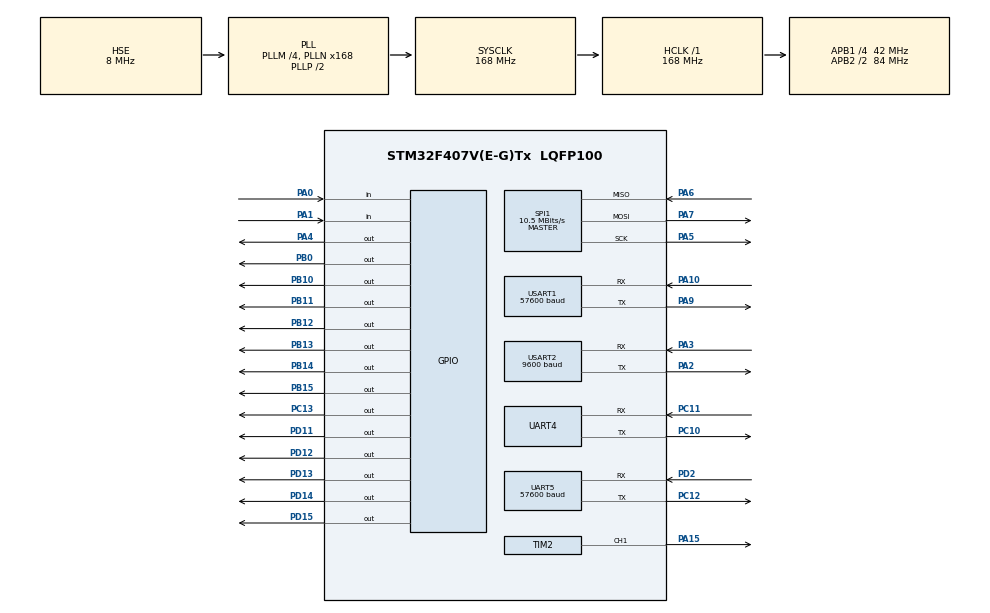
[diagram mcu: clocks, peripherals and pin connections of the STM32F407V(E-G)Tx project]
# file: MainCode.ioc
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Mcu.Family=STM32F4
Mcu.Name=STM32F407V(E-G)Tx
Mcu.Package=LQFP100
NVIC.PriorityGroup=NVIC_PRIORITYGROUP_4
PA0-WKUP.Signal=GPIO_Input
PA1.Signal=GPIO_Input
PA10.Mode=Asynchronous
PA10.Signal=USART1_RX
PA13.Mode=Serial_Wire
PA13.Signal=SYS_JTMS-SWDIO
PA14.Mode=Serial_Wire
PA14.Signal=SYS_JTCK-SWCLK
PA15.Signal=S_TIM2_CH1_ETR
PA2.Mode=Asynchronous
PA2.Signal=USART2_TX
PA3.Mode=Asynchronous
PA3.Signal=USART2_RX
PA4.Signal=GPIO_Output
PA5.Mode=Full_Duplex_Master
PA5.Signal=SPI1_SCK
PA6.Mode=Full_Duplex_Master
PA6.Signal=SPI1_MISO
PA7.Mode=Full_Duplex_Master
PA7.Signal=SPI1_MOSI
PA9.Mode=Asynchronous
PA9.Signal=USART1_TX
PB0.Signal=GPIO_Output
PB10.Signal=GPIO_Output
PB11.Signal=GPIO_Output
PB12.Signal=GPIO_Output
PB13.Signal=GPIO_Output
PB14.Signal=GPIO_Output
PB15.Signal=GPIO_Output
PC10.Mode=Asynchronous
PC10.Signal=UART4_TX
PC11.Mode=Asynchronous
PC11.Signal=UART4_RX
PC12.Mode=Asynchronous
PC12.Signal=UART5_TX
PC13-ANTI_TAMP.Signal=GPIO_Output
PD11.Signal=GPIO_Output
PD12.Signal=GPIO_Output
PD13.Signal=GPIO_Output
PD14.Signal=GPIO_Output
PD15.Signal=GPIO_Output
PD2.Mode=Asynchronous
PD2.Signal=UART5_RX
PH0-OSC_IN.Mode=HSE-External-Oscillator
PH0-OSC_IN.Signal=RCC_OSC_IN
PH1-OSC_OUT.Mode=HSE-External-Oscillator
PH1-OSC_OUT.Signal=RCC_OSC_OUT
ProjectManager.HeapSize=0x200
ProjectManager.StackSize=0x400
ProjectManager.TargetToolchain=STM32CubeIDE
RCC.48MHZClocksFreq_Value=84000000
RCC.AHBFreq_Value=168000000
RCC.APB1CLKDivider=RCC_HCLK_DIV4
RCC.APB1Freq_Value=42000000
RCC.APB1TimFreq_Value=84000000
RCC.APB2CLKDivider=RCC_HCLK_DIV2
RCC.APB2Freq_Value=84000000
RCC.APB2TimFreq_Value=168000000
RCC.CortexFreq_Value=168000000
RCC.HCLKFreq_Value=168000000
RCC.HSE_VALUE=8000000
RCC.HSI_VALUE=16000000
RCC.LSE_VALUE=32768
RCC.PLLM=4
RCC.PLLN=168
RCC.PLLSourceVirtual=RCC_PLLSOURCE_HSE
RCC.SYSCLKFreq_VALUE=168000000
RCC.SYSCLKSource=RCC_SYSCLKSOURCE_PLLCLK
RCC.VCOOutputFreq_Value=336000000
SH.S_TIM2_CH1_ETR.0=TIM2_CH1,PWM Generation1 CH1
SPI1.BaudRatePrescaler=SPI_BAUDRATEPRESCALER_8
SPI1.CalculateBaudRate=10.5 MBits/s
SPI1.Direction=SPI_DIRECTION_2LINES
SPI1.Mode=SPI_MODE_MASTER
SPI1.VirtualType=VM_MASTER
TIM2.Channel-PWM\ Generation1\ CH1=TIM_CHANNEL_1
TIM2.Period=1000-1
TIM2.Prescaler=900 - 1
UART4.VirtualMode=Asynchronous
UART5.BaudRate=57600
UART5.VirtualMode=Asynchronous
USART1.BaudRate=57600
USART1.VirtualMode=VM_ASYNC
USART2.BaudRate=9600
USART2.VirtualMode=VM_ASYNC
VP_TIM2_VS_ClockSourceINT.Mode=Internal
board=custom

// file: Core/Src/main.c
/* USER CODE BEGIN Header */
/**
  ******************************************************************************
  * @file           : main.c
  * @brief          : Main program body
  ******************************************************************************
  * @attention
  *
  * Copyright (c) 2023 STMicroelectronics.
  * All rights reserved.
  *
  * This software is licensed under terms that can be found in the LICENSE file
  * in the root directory of this software component.
  * If no LICENSE file comes with this software, it is provided AS-IS.
  *
  ******************************************************************************
  */
/* USER CODE END Header */
#include "main.h"

/* USER CODE BEGIN Includes */
#include <stdio.h>
#include <string.h>
#include "lcd.h"
#include "rc522.h"
/* USER CODE END Includes */

/* USER CODE BEGIN PD */
 #define FP_OK 0x00
 #define FP_ERROR 0xFE
 #define FP_NOFINGER 0x02
 #define FP_FINGER_NOTMATCH 0x0A
 #define FP_FINGER_NOTMATCH 0x0A
 #define FP_FINGER_NOTFOUND 0x09
/* USER CODE END PD */

SPI_HandleTypeDef hspi1;

TIM_HandleTypeDef htim2;

UART_HandleTypeDef huart4;
UART_HandleTypeDef huart5;
UART_HandleTypeDef huart1;
UART_HandleTypeDef huart2;

/* USER CODE BEGIN PV */
uint8_t FPHeader[6]={0xEF,0x01,0xFF,0xFF,0xFF,0xFF};
uint8_t FPGetImage[6]={0x01,0x00,0x03,0x01,0x00,0x05};
uint8_t FPCreateCharFile1[7]={0x01,0x00,0x04,0x02,0x01,0x00,0x08};
uint8_t FPCreateCharFile2[7]={0x01,0x00,0x04,0x02,0x02,0x00,0x09};
uint8_t FPCreateTemplate[6]={0x01,0x00,0x03,0x05,0x00,0x09};
uint8_t FPDeleteAllFinger[6]={0x01,0x00,0x03,0x0D,0x00,0x11};
uint8_t FPSearchFinger[11]={0x01,0x00,0x08,0x04,0x01,0x00,0x00,0x00,0x40,0x00,0x4E};
uint8_t FPGetNumberOfFinger[6]={0x01,0x00,0x03,0x1D,0x00,0x21};

uint8_t IDFromFinger;
uint8_t CurrentNumberFinger;

uint8_t status;
uint8_t str[MAX_LEN];
uint8_t sNum[5];
/* USER CODE END PV */

void SystemClock_Config(void);
static void MX_GPIO_Init(void);
static void MX_USART1_UART_Init(void);
static void MX_USART2_UART_Init(void);
static void MX_UART5_Init(void);
static void MX_TIM2_Init(void);
static void MX_SPI1_Init(void);
static void MX_UART4_Init(void);

/* USER CODE BEGIN 0 */

void SendFPHeader()
{
	HAL_UART_Transmit(&huart5,FPHeader,6,1000);
}

void SendFPGetImage()
{
	 HAL_UART_Transmit(&huart5,FPGetImage,6,1000);
}

void SendFPCreateCharFile1()
{
	HAL_UART_Transmit(&huart5,FPCreateCharFile1,7,1000);
}

void SendFPCreateCharFile2()
{
	HAL_UART_Transmit(&huart5,FPCreateCharFile2,7,1000);
}

void SendFPCreateTemplate()
{
	HAL_UART_Transmit(&huart5,FPCreateTemplate,6,1000);
}

void SendFPDeleteAllFinger()
{
	HAL_UART_Transmit(&huart5,FPDeleteAllFinger,6,1000);
}

void SendFPDSearchFinger()
{
	HAL_UART_Transmit(&huart5,FPSearchFinger,11,1000);
}

void SendFGetNumberOfFinger()
{
	HAL_UART_Transmit(&huart5,FPGetNumberOfFinger,6,1000);
}

void SendStoreFinger(uint16_t IDStore)
{
	uint16_t Sum=0;
	uint8_t DataSend[9]={0};

	DataSend[0]=0x01;
	Sum=Sum+DataSend[0];
	DataSend[1]=0x00;
	Sum=Sum+DataSend[1];
	DataSend[2]=0x06;
	Sum=Sum+DataSend[2];
	DataSend[3]=0x06;
	Sum=Sum+DataSend[3];
	DataSend[4]=0x01;
	Sum=Sum+DataSend[4];
	DataSend[5]= (uint8_t)(IDStore>> 8);
	Sum=Sum+DataSend[5];
	DataSend[6]=(uint8_t) (IDStore&0xFF);
	Sum=Sum+DataSend[6];
  DataSend[7]=(uint8_t)(Sum>> 8);
	DataSend[8]=(uint8_t)(Sum&0xFF);
	HAL_UART_Transmit(&huart5,DataSend,9,1000);
}

void SendDeleteFinger(uint16_t IDDelete)
{
	uint16_t Sum=0;
	uint8_t DataSend[10]={0};

	DataSend[0]=0x01;
	Sum=Sum+DataSend[0];
	DataSend[1]=0x00;
	Sum=Sum+DataSend[1];
	DataSend[2]=0x07;
	Sum=Sum+DataSend[2];
	DataSend[3]=0x0C;
	Sum=Sum+DataSend[3];
	DataSend[4]=(uint8_t)(IDDelete>> 8);
	Sum=Sum+DataSend[4];
	DataSend[5]= (uint8_t) (IDDelete&0xFF);
	Sum=Sum+DataSend[5];
	DataSend[6]=0x00;
	Sum=Sum+DataSend[6];
	DataSend[7]=0x001;
	Sum=Sum+DataSend[7];
  DataSend[8]=(uint8_t)(Sum>> 8);
	DataSend[9]=(uint8_t)(Sum&0xFF);
	HAL_UART_Transmit(&huart5,DataSend,10,1000);
}

uint8_t CheckFPRespsone(uint8_t MaxRead)
{
	uint8_t ByteCount=0;
	uint8_t FPRXData[20]={0xFF};
	uint8_t UARTData[1]={0};
	uint32_t TimeOut = HAL_GetTick();
	uint8_t Result;
	IDFromFinger=0xFF;
	while((HAL_GetTick() - TimeOut < 1000) && ByteCount<MaxRead) // time out is 1000 ms
	{
	    if(HAL_UART_Receive(&huart5, (uint8_t *)UARTData, 1, 1000) == HAL_OK)
			{
				FPRXData[ByteCount] = UARTData[0];
				ByteCount++;
			}
	}

	if(ByteCount==0)
	{
		//FPRXData[0]=0xEE;
		//FPRXData[1]=0xEE;
		//HAL_UART_Transmit(&huart2,FPRXData,2,1000);
		Result=FP_ERROR;
		return Result;
	}
	else if(ByteCount<MaxRead)
	{
		Result=FP_ERROR;
		return Result;
	}
	  else // vail data return
	{

		 Result=FPRXData[9];
		 IDFromFinger=FPRXData[11];
	   //HAL_UART_Transmit(&huart2,FPRXData,MaxRead,1000);
		 return Result;

	}
}

uint8_t GetNumberOfFinger()
{
	uint8_t Result;
	SendFPHeader();
	SendFGetNumberOfFinger();
	Result=CheckFPRespsone(14);
	if(Result!=FP_OK) return 0xFF;

	return IDFromFinger;
}

uint8_t RegistryNewFinger(uint16_t LocationID)
{

	uint8_t Result=FP_NOFINGER;
	uint32_t TimeOut = HAL_GetTick();

	LCD_SetPos(0,1);
	LCD_String("HAY DAT NGON TAY");

	while(Result==FP_NOFINGER&&(HAL_GetTick() - TimeOut < 5000)) // time out is 5000 ms
	{

		SendFPHeader();
		SendFPGetImage();
		Result=CheckFPRespsone(12);
	}
	if(Result!=FP_OK) return FP_ERROR;
	// continue if detect finger;
	SendFPHeader();
	SendFPCreateCharFile1();
	Result=CheckFPRespsone(12);
	if(Result!=FP_OK) return FP_ERROR;

	LCD_SetPos(0,1);
	LCD_String(" HAY BO TAY RA  ");

	HAL_Delay(2000);
	Result=FP_NOFINGER;
	TimeOut = HAL_GetTick();
	LCD_SetPos(0,1);
	LCD_String("DAT LAI NGON TAY");

	while(Result==FP_NOFINGER&&(HAL_GetTick() - TimeOut < 5000)) // time out is 5000 ms
	{

		SendFPHeader();
		SendFPGetImage();
		Result=CheckFPRespsone(12);
	}
	if(Result!=FP_OK) return FP_ERROR;

	// continue if detect finger;
	SendFPHeader();
	SendFPCreateCharFile2();
	Result=CheckFPRespsone(12);
	if(Result!=FP_OK) return FP_ERROR;

	// Compare finger, create template
	SendFPHeader();
	SendFPCreateTemplate();
	Result=CheckFPRespsone(12);
	if(Result==FP_FINGER_NOTMATCH)
	{

		return FP_FINGER_NOTMATCH;
	}
	else if(Result!=FP_OK) return FP_ERROR;

	// save finger
	SendFPHeader();
	SendStoreFinger(LocationID);
	Result=CheckFPRespsone(12);
	if(Result!=FP_OK) return FP_ERROR;
	else
	{
		return FP_OK;
	}

}

uint8_t CheckFinger()
{
	uint8_t Result=FP_NOFINGER;
	uint32_t TimeOut = HAL_GetTick();

	while(Result==FP_NOFINGER&&(HAL_GetTick() - TimeOut < 5000)&&HAL_GPIO_ReadPin(GPIOA,GPIO_PIN_0)==0) // time out is 5000 ms and no button press
	{

		SendFPHeader();
		SendFPGetImage();
		Result=CheckFPRespsone(12);
	}
	if(Result==FP_NOFINGER)
	{

		return FP_NOFINGER;
	}
	if(Result!=FP_OK) return FP_ERROR;
	// continue if detect finger;
	SendFPHeader();
	SendFPCreateCharFile1();
	Result=CheckFPRespsone(12);
	if(Result!=FP_OK) return FP_ERROR;

	// Search Finger
	SendFPHeader();
	SendFPDSearchFinger();
	Result=CheckFPRespsone(16);
	return Result;

}

uint8_t ProcessRegistryNewFinger()
{
  uint8_t FingerResult;
  LCD_SetPos(0,1);
  LCD_String("DANG KY VAN TAY ");

  HAL_Delay(1000);
  FingerResult=RegistryNewFinger(CurrentNumberFinger+1);
	if(FingerResult==FP_OK)
	{
		LCD_SetPos(0,1);
		LCD_String("DANG KY T.CONG  ");
		HAL_Delay(1000);
		LCD_SetPos(0,1);
		LCD_String("                ");
		CurrentNumberFinger++;
		if(CurrentNumberFinger==100) CurrentNumberFinger=1;
		HAL_Delay(1500);
	}
	else if(FingerResult==FP_FINGER_NOTMATCH)
	{
		LCD_SetPos(0,1);
		LCD_String("2 VT KHONG KHOP ");
		HAL_Delay(1000);
		LCD_SetPos(0,1);
		LCD_String("                ");
	}
	else
	{
		LCD_SetPos(0,1);
		LCD_String(" CO LOI XAY RA  ");
		HAL_Delay(1000);
		LCD_SetPos(0,1);
		LCD_String("                ");

	}
	return FingerResult;

}

void DeleteAllFinger()
{

	uint8_t FingerResult;
	SendFPHeader();
	SendFPDeleteAllFinger();
	FingerResult=CheckFPRespsone(12);
	if(FingerResult==FP_OK)
	{
		LCD_SetPos(0,1);
		LCD_String(" DA XOA VAN TAY ");
		HAL_Delay(1500);
		LCD_SetPos(0,1);
		LCD_String("                ");
		CurrentNumberFinger=0;
	}
	else
	{
		LCD_SetPos(0,1);
		LCD_String(" CO LOI XAY RA  ");
		HAL_Delay(1500);
		LCD_SetPos(0,1);
		LCD_String("                ");
	}

}

void Delay_us(uint32_t TimeDelay)
{
	uint32_t TimeCount;
	for(TimeCount=0;TimeCount<TimeDelay;TimeCount++)
	{
		__ASM volatile ("NOP");
		__ASM volatile ("NOP");
		__ASM volatile ("NOP");
	}
}

void SetServoAngle(uint8_t angle)
{
	if (angle > 180) angle = 180;
	uint32_t pulse_length = ((angle * (2000 - 1000)) / 180) + 1000;
	__HAL_TIM_SET_COMPARE(&htim2, TIM_CHANNEL_1, pulse_length);
}

void CloseDoor()
{
////	  HAL_GPIO_WritePin(GPIOD,GPIO_PIN_11,GPIO_PIN_SET);
////	  Delay_us(1000);
////	  HAL_GPIO_WritePin(GPIOD,GPIO_PIN_11,GPIO_PIN_RESET);
//	SetServoAngle(0); // Close door (0 degrees)
	__HAL_TIM_SET_COMPARE(&htim2, TIM_CHANNEL_1, 50);
}

void OpenDoor()
{
////	  HAL_GPIO_WritePin(GPIOD,GPIO_PIN_11,GPIO_PIN_SET);
////	  Delay_us(2100);
////	  HAL_GPIO_WritePin(GPIOD,GPIO_PIN_11,GPIO_PIN_RESET);
//	SetServoAngle(90); // Open door (90 degrees)
//	Delay_us(2100);
	__HAL_TIM_SET_COMPARE(&htim2, TIM_CHANNEL_1, 150);
}

/* USER CODE END 0 */

int main(void)
{

  /* USER CODE BEGIN 1 */
  uint8_t FingerResult;
  uint32_t TimeCount;
  /* USER CODE END 1 */

  /* MCU Configuration--------------------------------------------------------*/

  /* Reset of all peripherals, Initializes the Flash interface and the Systick. */
  HAL_Init();

  /* Configure the system clock */
  SystemClock_Config();

  /* Initialize all configured peripherals */
  MX_GPIO_Init();
  MX_USART1_UART_Init();
  MX_USART2_UART_Init();
  MX_UART5_Init();
  MX_TIM2_Init();
  MX_SPI1_Init();
  MX_UART4_Init();
  /* USER CODE BEGIN 2 */
  MFRC522_Init();
  LCD_Init();
  LCD_SetPos(0,0);
  LCD_String(" HT VAN TAY/RFID");

  HAL_TIM_PWM_Start(&htim2, TIM_CHANNEL_1);
  __HAL_TIM_SET_COMPARE(&htim2, TIM_CHANNEL_1, 50);

  HAL_Delay(1000);

  OpenDoor(); // need to active motor
  HAL_Delay(500);
  CloseDoor();
  HAL_Delay(500);
  OpenDoor();
  HAL_Delay(500);
  CloseDoor();
  CurrentNumberFinger=GetNumberOfFinger();
  if(CurrentNumberFinger>100)
  {
	CurrentNumberFinger=1;
  }

	 LCD_SetPos(0,1);
	 LCD_String("    SAN SANG    ");
  /* USER CODE END 2 */

  /* Infinite loop */
  /* USER CODE BEGIN WHILE */
  while (1)
  {
	status = MFRC522_Request(PICC_REQIDL, str);
	status = MFRC522_Anticoll(str);
	memcpy(sNum, str, 5);
	HAL_Delay(100);
	FingerResult=CheckFinger();
    if(FingerResult==FP_OK || ((str[0]==163) && (str[1]==99) && (str[2]==212) && (str[3]==26) && (str[4]==14)) || ((str[0]==68) && (str[1]==244) && (str[2]==128) && (str[3]==113) && (str[4]==65)))
	{
    	HAL_UART_Transmit(&huart4, (uint8_t*)"1", 1, 1000);
		OpenDoor();

		LCD_SetPos(0,1);
		LCD_String("   DANG MO CUA ");

		HAL_Delay(2000);
		CloseDoor();

		LCD_SetPos(0,1);
		LCD_String("               ");
	}
	else if(FingerResult==FP_FINGER_NOTFOUND)
	{
		LCD_SetPos(0,1);
		LCD_String("VT KHONG HOP LE");
		HAL_Delay(1000);
		LCD_SetPos(0,1);
		LCD_String("               ");
	}

	if(HAL_GPIO_ReadPin(GPIOA,GPIO_PIN_0)==1)
	{
		TimeCount = HAL_GetTick();
		while(HAL_GetTick()-TimeCount<3000&&HAL_GPIO_ReadPin(GPIOA,GPIO_PIN_0)==1) // check hold button in 3 second to erase
		{}
		if(HAL_GPIO_ReadPin(GPIOA,GPIO_PIN_0)==1) // still hold button
		{
			DeleteAllFinger();
		}
		else
		{
			FingerResult=ProcessRegistryNewFinger();
		}

	}
    /* USER CODE END WHILE */

  }
}

void SystemClock_Config(void)
{
  RCC_OscInitTypeDef RCC_OscInitStruct = {0};
  RCC_ClkInitTypeDef RCC_ClkInitStruct = {0};

  /** Configure the main internal regulator output voltage
  */
  __HAL_RCC_PWR_CLK_ENABLE();
  __HAL_PWR_VOLTAGESCALING_CONFIG(PWR_REGULATOR_VOLTAGE_SCALE1);

  /** Initializes the RCC Oscillators according to the specified parameters
  * in the RCC_OscInitTypeDef structure.
  */
  RCC_OscInitStruct.OscillatorType = RCC_OSCILLATORTYPE_HSE;
  RCC_OscInitStruct.HSEState = RCC_HSE_ON;
  RCC_OscInitStruct.PLL.PLLState = RCC_PLL_ON;
  RCC_OscInitStruct.PLL.PLLSource = RCC_PLLSOURCE_HSE;
  RCC_OscInitStruct.PLL.PLLM = 4;
  RCC_OscInitStruct.PLL.PLLN = 168;
  RCC_OscInitStruct.PLL.PLLP = RCC_PLLP_DIV2;
  RCC_OscInitStruct.PLL.PLLQ = 4;
  if (HAL_RCC_OscConfig(&RCC_OscInitStruct) != HAL_OK)
  {
    Error_Handler();
  }

  /** Initializes the CPU, AHB and APB buses clocks
  */
  RCC_ClkInitStruct.ClockType = RCC_CLOCKTYPE_HCLK|RCC_CLOCKTYPE_SYSCLK
                              |RCC_CLOCKTYPE_PCLK1|RCC_CLOCKTYPE_PCLK2;
  RCC_ClkInitStruct.SYSCLKSource = RCC_SYSCLKSOURCE_PLLCLK;
  RCC_ClkInitStruct.AHBCLKDivider = RCC_SYSCLK_DIV1;
  RCC_ClkInitStruct.APB1CLKDivider = RCC_HCLK_DIV4;
  RCC_ClkInitStruct.APB2CLKDivider = RCC_HCLK_DIV2;

  if (HAL_RCC_ClockConfig(&RCC_ClkInitStruct, FLASH_LATENCY_5) != HAL_OK)
  {
    Error_Handler();
  }
}

static void MX_SPI1_Init(void)
{

  /* SPI1 parameter configuration*/
  hspi1.Instance = SPI1;
  hspi1.Init.Mode = SPI_MODE_MASTER;
  hspi1.Init.Direction = SPI_DIRECTION_2LINES;
  hspi1.Init.DataSize = SPI_DATASIZE_8BIT;
  hspi1.Init.CLKPolarity = SPI_POLARITY_LOW;
  hspi1.Init.CLKPhase = SPI_PHASE_1EDGE;
  hspi1.Init.NSS = SPI_NSS_SOFT;
  hspi1.Init.BaudRatePrescaler = SPI_BAUDRATEPRESCALER_8;
  hspi1.Init.FirstBit = SPI_FIRSTBIT_MSB;
  hspi1.Init.TIMode = SPI_TIMODE_DISABLE;
  hspi1.Init.CRCCalculation = SPI_CRCCALCULATION_DISABLE;
  hspi1.Init.CRCPolynomial = 10;
  if (HAL_SPI_Init(&hspi1) != HAL_OK)
  {
    Error_Handler();
  }

}

static void MX_TIM2_Init(void)
{

  TIM_ClockConfigTypeDef sClockSourceConfig = {0};
  TIM_MasterConfigTypeDef sMasterConfig = {0};
  TIM_OC_InitTypeDef sConfigOC = {0};

  htim2.Instance = TIM2;
  htim2.Init.Prescaler = 900 - 1;
  htim2.Init.CounterMode = TIM_COUNTERMODE_UP;
  htim2.Init.Period = 1000-1;
  htim2.Init.ClockDivision = TIM_CLOCKDIVISION_DIV1;
  htim2.Init.AutoReloadPreload = TIM_AUTORELOAD_PRELOAD_DISABLE;
  if (HAL_TIM_Base_Init(&htim2) != HAL_OK)
  {
    Error_Handler();
  }
  sClockSourceConfig.ClockSource = TIM_CLOCKSOURCE_INTERNAL;
  if (HAL_TIM_ConfigClockSource(&htim2, &sClockSourceConfig) != HAL_OK)
  {
    Error_Handler();
  }
  if (HAL_TIM_PWM_Init(&htim2) != HAL_OK)
  {
    Error_Handler();
  }
  sMasterConfig.MasterOutputTrigger = TIM_TRGO_RESET;
  sMasterConfig.MasterSlaveMode = TIM_MASTERSLAVEMODE_DISABLE;
  if (HAL_TIMEx_MasterConfigSynchronization(&htim2, &sMasterConfig) != HAL_OK)
  {
    Error_Handler();
  }
  sConfigOC.OCMode = TIM_OCMODE_PWM1;
  sConfigOC.Pulse = 0;
  sConfigOC.OCPolarity = TIM_OCPOLARITY_HIGH;
  sConfigOC.OCFastMode = TIM_OCFAST_DISABLE;
  if (HAL_TIM_PWM_ConfigChannel(&htim2, &sConfigOC, TIM_CHANNEL_1) != HAL_OK)
  {
    Error_Handler();
  }
  HAL_TIM_MspPostInit(&htim2);

}

static void MX_UART4_Init(void)
{

  huart4.Instance = UART4;
  huart4.Init.BaudRate = 115200;
  huart4.Init.WordLength = UART_WORDLENGTH_8B;
  huart4.Init.StopBits = UART_STOPBITS_1;
  huart4.Init.Parity = UART_PARITY_NONE;
  huart4.Init.Mode = UART_MODE_TX_RX;
  huart4.Init.HwFlowCtl = UART_HWCONTROL_NONE;
  huart4.Init.OverSampling = UART_OVERSAMPLING_16;
  if (HAL_UART_Init(&huart4) != HAL_OK)
  {
    Error_Handler();
  }

}

static void MX_UART5_Init(void)
{

  huart5.Instance = UART5;
  huart5.Init.BaudRate = 57600;
  huart5.Init.WordLength = UART_WORDLENGTH_8B;
  huart5.Init.StopBits = UART_STOPBITS_1;
  huart5.Init.Parity = UART_PARITY_NONE;
  huart5.Init.Mode = UART_MODE_TX_RX;
  huart5.Init.HwFlowCtl = UART_HWCONTROL_NONE;
  huart5.Init.OverSampling = UART_OVERSAMPLING_16;
  if (HAL_UART_Init(&huart5) != HAL_OK)
  {
    Error_Handler();
  }

}

static void MX_USART1_UART_Init(void)
{

  huart1.Instance = USART1;
  huart1.Init.BaudRate = 57600;
  huart1.Init.WordLength = UART_WORDLENGTH_8B;
  huart1.Init.StopBits = UART_STOPBITS_1;
  huart1.Init.Parity = UART_PARITY_NONE;
  huart1.Init.Mode = UART_MODE_TX_RX;
  huart1.Init.HwFlowCtl = UART_HWCONTROL_NONE;
  huart1.Init.OverSampling = UART_OVERSAMPLING_16;
  if (HAL_UART_Init(&huart1) != HAL_OK)
  {
    Error_Handler();
  }

}

static void MX_USART2_UART_Init(void)
{

  huart2.Instance = USART2;
  huart2.Init.BaudRate = 9600;
  huart2.Init.WordLength = UART_WORDLENGTH_8B;
  huart2.Init.StopBits = UART_STOPBITS_1;
  huart2.Init.Parity = UART_PARITY_NONE;
  huart2.Init.Mode = UART_MODE_TX_RX;
  huart2.Init.HwFlowCtl = UART_HWCONTROL_NONE;
  huart2.Init.OverSampling = UART_OVERSAMPLING_16;
  if (HAL_UART_Init(&huart2) != HAL_OK)
  {
    Error_Handler();
  }

}

static void MX_GPIO_Init(void)
{
  GPIO_InitTypeDef GPIO_InitStruct = {0};

  /* GPIO Ports Clock Enable */
  __HAL_RCC_GPIOC_CLK_ENABLE();
  __HAL_RCC_GPIOH_CLK_ENABLE();
  __HAL_RCC_GPIOA_CLK_ENABLE();
  __HAL_RCC_GPIOB_CLK_ENABLE();
  __HAL_RCC_GPIOD_CLK_ENABLE();

  /*Configure GPIO pin Output Level */
  HAL_GPIO_WritePin(GPIOC, GPIO_PIN_13, GPIO_PIN_RESET);

  /*Configure GPIO pin Output Level */
  HAL_GPIO_WritePin(GPIOA, GPIO_PIN_4, GPIO_PIN_RESET);

  /*Configure GPIO pin Output Level */
  HAL_GPIO_WritePin(GPIOB, GPIO_PIN_0|GPIO_PIN_10|GPIO_PIN_11|GPIO_PIN_12
                          |GPIO_PIN_13|GPIO_PIN_14|GPIO_PIN_15, GPIO_PIN_RESET);

  /*Configure GPIO pin Output Level */
  HAL_GPIO_WritePin(GPIOD, GPIO_PIN_11|GPIO_PIN_12|GPIO_PIN_13|GPIO_PIN_14
                          |GPIO_PIN_15, GPIO_PIN_RESET);

  /*Configure GPIO pin : PC13 */
  GPIO_InitStruct.Pin = GPIO_PIN_13;
  GPIO_InitStruct.Mode = GPIO_MODE_OUTPUT_PP;
  GPIO_InitStruct.Pull = GPIO_NOPULL;
  GPIO_InitStruct.Speed = GPIO_SPEED_FREQ_LOW;
  HAL_GPIO_Init(GPIOC, &GPIO_InitStruct);

  /*Configure GPIO pins : PA0 PA1 */
  GPIO_InitStruct.Pin = GPIO_PIN_0|GPIO_PIN_1;
  GPIO_InitStruct.Mode = GPIO_MODE_INPUT;
  GPIO_InitStruct.Pull = GPIO_NOPULL;
  HAL_GPIO_Init(GPIOA, &GPIO_InitStruct);

  /*Configure GPIO pin : PA4 */
  GPIO_InitStruct.Pin = GPIO_PIN_4;
  GPIO_InitStruct.Mode = GPIO_MODE_OUTPUT_PP;
  GPIO_InitStruct.Pull = GPIO_NOPULL;
  GPIO_InitStruct.Speed = GPIO_SPEED_FREQ_LOW;
  HAL_GPIO_Init(GPIOA, &GPIO_InitStruct);

  /*Configure GPIO pins : PB0 PB10 PB11 PB12
                           PB13 PB14 PB15 */
  GPIO_InitStruct.Pin = GPIO_PIN_0|GPIO_PIN_10|GPIO_PIN_11|GPIO_PIN_12
                          |GPIO_PIN_13|GPIO_PIN_14|GPIO_PIN_15;
  GPIO_InitStruct.Mode = GPIO_MODE_OUTPUT_PP;
  GPIO_InitStruct.Pull = GPIO_NOPULL;
  GPIO_InitStruct.Speed = GPIO_SPEED_FREQ_LOW;
  HAL_GPIO_Init(GPIOB, &GPIO_InitStruct);

  /*Configure GPIO pins : PD11 PD12 PD13 PD14
                           PD15 */
  GPIO_InitStruct.Pin = GPIO_PIN_11|GPIO_PIN_12|GPIO_PIN_13|GPIO_PIN_14
                          |GPIO_PIN_15;
  GPIO_InitStruct.Mode = GPIO_MODE_OUTPUT_PP;
  GPIO_InitStruct.Pull = GPIO_NOPULL;
  GPIO_InitStruct.Speed = GPIO_SPEED_FREQ_LOW;
  HAL_GPIO_Init(GPIOD, &GPIO_InitStruct);

}

void Error_Handler(void)
{
  __disable_irq();
  while (1)
  {
  }
}
